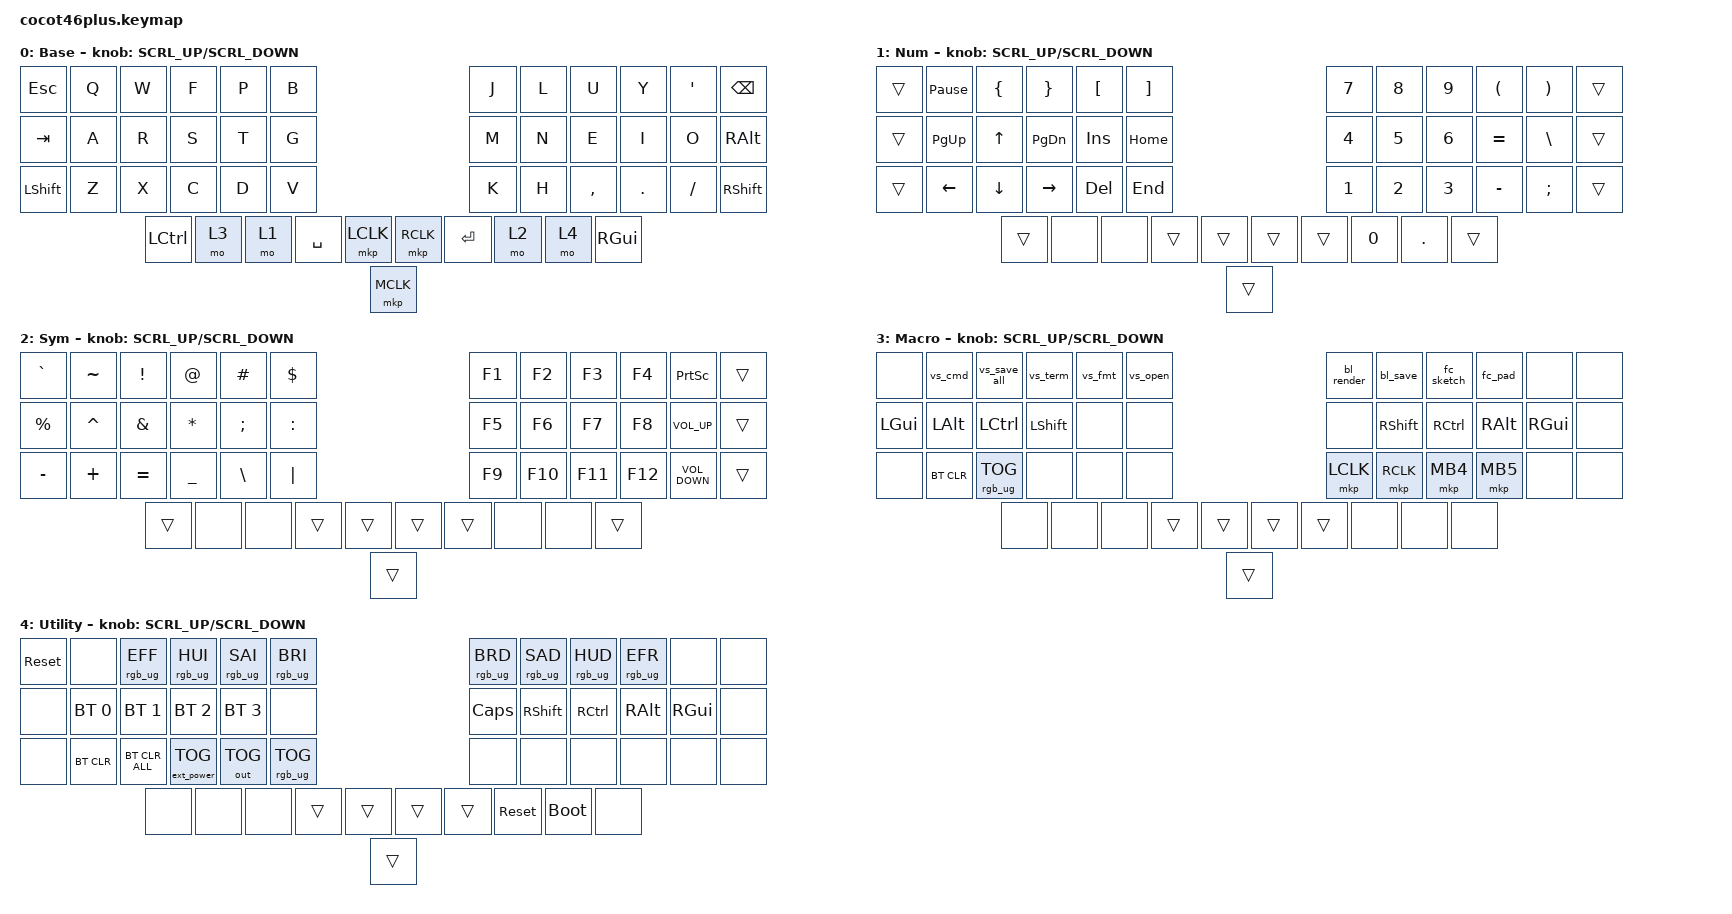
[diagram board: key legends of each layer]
/*
 * cocot46plus — Miryoku 42-key adaptation (Attempt 39)
 * Agen / Gloppy16/zmk-config
 *
 * Layout: Miryoku (github.com/manna-harbour/miryoku) derived — Colemak-DH
 * alphas, GACS home-row mods. Treated as a 42-key board (3x6 + 3 thumbs per
 * half): the two outermost bottom-row keys (old LGUI / old ESC) are &none on
 * every layer. The two dedicated click keys (40 LClk / 41 RClk) carry
 * &mkp LCLK / &mkp RCLK on ALL 7 layers as of Attempt 49 (they were &none
 * through Attempt 48). Rev2 (Attempt 41):
 * the Mouse layer is GONE — the trackball pointer is always active at driver
 * level; dedicated LCLK/RCLK keys sit at 40/41 on every layer (A49), and
 * MB4/MB5 live on the Macro layer. Space/Enter are plain taps
 * (never tap/hold muxed); layer switches are pure thumb holds.
 *
 * Layers: 0 Base, 1 Nav, 2 Num, 3 Sym, 4 Fun, 5 Macro, 6 Utility.
 * Access: hold 37=Macro, 38=Nav, 43=Sym, 44=Num; 39=Space / 42=Enter plain.
 *         Fun     = hold Sym (43) + Num-position (44) together.
 *         Utility = hold Macro (37) + Enter-position (42, &mo on Macro layer).
 * Scroll-wheel: driver scroll-layers = <1> (Nav only) in the overlay.
 * Encoder (Attempt 44): rotation = mouse wheel (&enc_scrl wraps &msc) on
 * every layer; press = middle click at key position 46 (last, all layers).
 * A42 put MCLK at binding index 40 with a 46-long array; A43 made it 47
 * with binding[i] == position[i]. A44 moves the encoder's logical position
 * to the END of all three structures (transform, bindings, info.json) so
 * the nickcoutsos keymap-editor's sequential-row rule passes: its 'Enc'
 * (display row 4) can no longer precede the row-3 bottom keys in
 * layouts[LAYOUT].layout. Physical wiring unchanged — the transform entry
 * stays RC(3,4) (bench-proven in A42); only its logical slot moved 40→46.
 * The vacated index-40 binding reverted to &none (Attempt 41 content);
 * Attempt 49 reuses positions 40/41 for the dedicated click keys (LCLK/RCLK
 * on all 7 layers). NOTE: 40/41 were the documented Studio-unlock fallback
 * slot (A45) - that fallback is now consumed; if Studio locking is ever
 * re-enabled, an unlock key must live somewhere else.
 *
 * Home-row mods use stock Miryoku ZMK values: flavor tap-preferred,
 * tapping-term 200 ms (u_mt), split left/right so opposite-hand chords work.
 *
 * MACROS: defined under "macros { ... }" below. To add one, copy an existing
 * node, change the label and bindings, then bind &your_label on the Macro
 * layer. Ctrl/Shift chords: macro_press ... macro_tap ... macro_release.
 *
 * Do not touch here: info.json (editor layout), conf files,
 * overlay scroll-layers = <1> (Nav) — bump it if a new scroll layer is added.
 */

#include <behaviors.dtsi>
#include <dt-bindings/zmk/bt.h>
#include <dt-bindings/zmk/ext_power.h>
#include <dt-bindings/zmk/keys.h>
#include <dt-bindings/zmk/outputs.h>
#include <dt-bindings/zmk/pointing.h>
#include <dt-bindings/zmk/rgb.h>

#define BASE    0
#define NAV     1
#define NUM     2
#define SYM     3
#define FUN     4
#define MACRO   5
#define UTILITY 6

/ {
    behaviors {
        /* Encoder rotation → mouse wheel (Attempt 42): a sensor-rotate-var
           wrapping &msc (zmk,behavior-input-two-axis, INPUT_REL_WHEEL).
           &inc_dec_kp only wraps &kp, so it cannot emit scroll events.
           tap-ms MUST stay above the &msc trigger-period (16 ms): &msc emits
           on a 16 ms tick and truncates float accumulation, so a shorter tap
           emits nothing. 30 ms ⇒ ≥1 tick per detent (verified vs v0.3.0
           source: behavior_queue.c processes release after `wait`;
           tick_work_cb schedules every trigger_period_ms). */

        enc_scrl: sensor_rotate_msc {
            compatible = "zmk,behavior-sensor-rotate-var";
            #sensor-binding-cells = <2>;
            tap-ms = <30>;
            bindings = <&msc>, <&msc>;
        };

        /* Home-row mod hold-taps — Miryoku ZMK stock config (u_mt) */

        hml: hml {
            compatible = "zmk,behavior-hold-tap";
            #binding-cells = <2>;
            tapping-term-ms = <200>;
            flavor = "tap-preferred";
            bindings = <&kp>, <&kp>;
        };

        hmr: hmr {
            compatible = "zmk,behavior-hold-tap";
            #binding-cells = <2>;
            tapping-term-ms = <200>;
            flavor = "tap-preferred";
            bindings = <&kp>, <&kp>;
        };
    };

    macros {
        /* ================= VS Code (left hand, Macro layer) ================= */
        /* Command palette: Ctrl+Shift+P */

        vs_cmd: vs_cmd {
            compatible = "zmk,behavior-macro";
            #binding-cells = <0>;
            bindings =
                <&macro_press>,
                <&kp LCTRL &kp LSHFT>,
                <&macro_tap>,
                <&kp P>,
                <&macro_release>,
                <&kp LCTRL &kp LSHFT>;
        };

        /* Save all: Ctrl+K S (chorded command) */

        vs_save_all: vs_save_all {
            compatible = "zmk,behavior-macro";
            #binding-cells = <0>;
            bindings =
                <&macro_press>,
                <&kp LCTRL>,
                <&macro_tap>,
                <&kp K>,
                <&macro_release>,
                <&kp LCTRL>,
                <&macro_tap>,
                <&kp S>;
        };

        /* Toggle built-in terminal: Ctrl+` */

        vs_term: vs_term {
            compatible = "zmk,behavior-macro";
            #binding-cells = <0>;
            bindings =
                <&macro_press>,
                <&kp LCTRL>,
                <&macro_tap>,
                <&kp GRAVE>,
                <&macro_release>,
                <&kp LCTRL>;
        };

        /* Format document: Shift+Alt+F */

        vs_fmt: vs_fmt {
            compatible = "zmk,behavior-macro";
            #binding-cells = <0>;
            bindings =
                <&macro_press>,
                <&kp LSHIFT &kp LALT>,
                <&macro_tap>,
                <&kp F>,
                <&macro_release>,
                <&kp LSHIFT &kp LALT>;
        };

        /* Quick open file: Ctrl+P */

        vs_open: vs_open {
            compatible = "zmk,behavior-macro";
            #binding-cells = <0>;
            bindings =
                <&macro_press>,
                <&kp LCTRL>,
                <&macro_tap>,
                <&kp P>,
                <&macro_release>,
                <&kp LCTRL>;
        };

        /* ================= Blender (right hand, Macro layer) ================= */
        /* Save: Ctrl+S */

        bl_save: bl_save {
            compatible = "zmk,behavior-macro";
            #binding-cells = <0>;
            bindings =
                <&macro_press>,
                <&kp LCTRL>,
                <&macro_tap>,
                <&kp S>,
                <&macro_release>,
                <&kp LCTRL>;
        };

        /* Render image: F12 */

        bl_render: bl_render {
            compatible = "zmk,behavior-macro";
            #binding-cells = <0>;
            bindings = <&macro_tap>, <&kp F12>;
        };

        /* ================= FreeCAD (placeholders — remap to taste) ================= */
        /* New sketch: N, P sequence (placeholder) */

        fc_sketch: fc_sketch {
            compatible = "zmk,behavior-macro";
            #binding-cells = <0>;
            bindings = <&macro_tap>, <&kp N &kp P>;
        };

        /* Pad: P, D sequence (placeholder) */

        fc_pad: fc_pad {
            compatible = "zmk,behavior-macro";
            #binding-cells = <0>;
            bindings = <&macro_tap>, <&kp P &kp D>;
        };
    };

    sensors {
        compatible = "zmk,keymap-sensors";
        sensors = <&encoder_0>;
    };

    keymap {
        compatible = "zmk,keymap";

        /* Physical grid: 12 / 12 / 12 / 10 + encoder = 47 bindings per layer.
           Bottom row = positions 36-45; 36 (old LGUI) and 45 (old ESC) are
           &none — the 42-key treatment. Positions 40/41 = the dedicated
           click keys: &mkp LCLK / &mkp RCLK on ALL 7 layers (A49; were
           &none through A48). Position 46 = EC11 encoder press → MCLK on
           every layer (A44). */

        base_layer {
            display-name = "Base";
            bindings = <
&kp ESCAPE      &kp Q  &kp W  &kp F      &kp P      &kp B      &kp J       &kp L  &kp U      &kp Y          &kp SQT   &kp BACKSPACE
&kp TAB         &kp A  &kp R  &kp S      &kp T      &kp G      &kp M       &kp N  &kp E      &kp I          &kp O     &kp RIGHT_ALT
&kp LEFT_SHIFT  &kp Z  &kp X  &kp C      &kp D      &kp V      &kp K       &kp H  &kp COMMA  &kp DOT        &kp FSLH  &kp RIGHT_SHIFT
&kp LCTRL       &mo 3  &mo 1  &kp SPACE  &mkp LCLK  &mkp RCLK  &kp RETURN  &mo 2  &mo 4      &kp RIGHT_GUI
&mkp MCLK
            >;

            sensor-bindings = <&enc_scrl SCRL_UP SCRL_DOWN>;
        };

        nav_num {
            display-name = "Num";
            bindings = <
&trans  &kp PAUSE_BREAK  &kp LEFT_BRACE  &kp RIGHT_BRACE  &kp LEFT_BRACKET  &kp RIGHT_BRACKET  &kp N7  &kp N8        &kp N9        &kp LEFT_PARENTHESIS  &kp RIGHT_PARENTHESIS  &trans
&trans  &kp PAGE_UP      &kp UP_ARROW    &kp PAGE_DOWN    &kp INS           &kp HOME           &kp N4  &kp NUMBER_5  &kp NUMBER_6  &kp EQUAL             &kp BACKSLASH          &trans
&trans  &kp LEFT_ARROW   &kp DOWN_ARROW  &kp RIGHT        &kp DELETE        &kp END            &kp N1  &kp NUMBER_2  &kp N3        &kp MINUS             &kp SEMICOLON          &trans
&trans  &none            &none           &trans           &trans            &trans             &trans  &kp N0        &kp DOT       &trans
&trans
            >;

            sensor-bindings = <&enc_scrl SCRL_UP SCRL_DOWN>;
        };

        sym_fun {
            display-name = "Sym";
            bindings = <
&kp GRAVE    &kp TILDE  &kp EXCL       &kp AT_SIGN   &kp POUND      &kp DOLLAR  &kp F1  &kp F2   &kp F3   &kp F4   &kp PRINTSCREEN    &trans
&kp PERCENT  &kp CARET  &kp AMPERSAND  &kp ASTERISK  &kp SEMICOLON  &kp COLON   &kp F5  &kp F6   &kp F7   &kp F8   &kp C_VOLUME_UP    &trans
&kp MINUS    &kp PLUS   &kp EQUAL      &kp UNDER     &kp BACKSLASH  &kp PIPE    &kp F9  &kp F10  &kp F11  &kp F12  &kp C_VOLUME_DOWN  &trans
&trans       &none      &none          &trans        &trans         &trans      &trans  &none    &none    &trans
&trans
            >;

            sensor-bindings = <&enc_scrl SCRL_UP SCRL_DOWN>;
        };

        macro_layer {
            display-name = "Macro";
            bindings = <
&none     &vs_cmd     &vs_save_all     &vs_term   &vs_fmt  &vs_open  &bl_render  &bl_save   &fc_sketch  &fc_pad   &none     &none
&kp LGUI  &kp LALT    &kp LCTRL        &kp LSHFT  &none    &none     &none       &kp RSHFT  &kp RCTRL   &kp RALT  &kp RGUI  &none
&none     &bt BT_CLR  &rgb_ug RGB_TOG  &none      &none    &none     &mkp LCLK   &mkp RCLK  &mkp MB4    &mkp MB5  &none     &none
&none     &none       &none            &trans     &trans   &trans    &trans      &none      &none       &none
&trans
            >;

            sensor-bindings = <&enc_scrl SCRL_UP SCRL_DOWN>;
        };

        utility_layer {
            display-name = "Utility";
            bindings = <
&sys_reset  &none         &rgb_ug RGB_EFF  &rgb_ug RGB_HUI    &rgb_ug RGB_SAI  &rgb_ug RGB_BRI  &rgb_ug RGB_BRD  &rgb_ug RGB_SAD  &rgb_ug RGB_HUD  &rgb_ug RGB_EFR  &none     &none
&none       &bt BT_SEL 0  &bt BT_SEL 1     &bt BT_SEL 2       &bt BT_SEL 3     &none            &kp CAPS         &kp RSHFT        &kp RCTRL        &kp RALT         &kp RGUI  &none
&none       &bt BT_CLR    &bt BT_CLR_ALL   &ext_power EP_TOG  &out OUT_TOG     &rgb_ug RGB_TOG  &none            &none            &none            &none            &none     &none
&none       &none         &none            &trans             &trans           &trans           &trans           &sys_reset       &bootloader      &none
&trans
            >;

            sensor-bindings = <&enc_scrl SCRL_UP SCRL_DOWN>;
        };
    };
};
